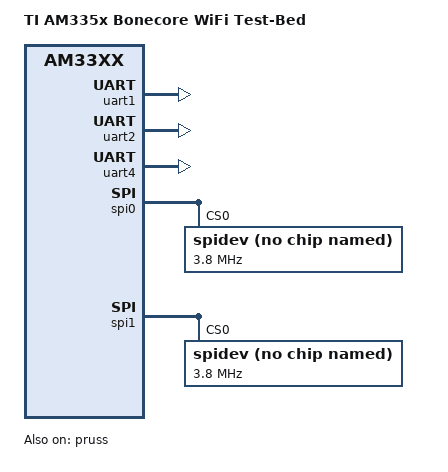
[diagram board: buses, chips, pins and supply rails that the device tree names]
/*
 * Copyright (C) Subinitial LLC
 *
 * This program is free software; you can redistribute it and/or modify
 * it under the terms of the GNU General Public License version 2 as
 * published by the Free Software Foundation.
 */
/dts-v1/;

#include "am33xx.dtsi"
#include "am335x-bone-common.dtsi"
#include "am335x-bonegreen-common.dtsi"
// #include "am335x-pruss-rproc.dtsi"
/* #include "am335x-bone-jtag.dtsi" */

#include "am335x-bonecore-common.dtsi"


&am33xx_pinmux {
  bb_uart1_pins: pinmux_bb_uart1_pins {
    pinctrl-single,pins = <
      BONE_P9_24 (PIN_OUTPUT | MUX_MODE0)	// uart1_txd.uart1_txd
      BONE_P9_26 (PIN_INPUT | MUX_MODE0)	// uart1_rxd.uart1_rxd
    	BONE_P9_19 (PIN_OUTPUT_PULLDOWN | MUX_MODE7)	// uart1_rtsn.uart1_rtsn
    	BONE_P9_20 (PIN_INPUT | MUX_MODE7)	// uart1_ctsn.uart1_ctsn
    >;
  };

  bb_uart2_pins: pinmux_bb_uart2_pins {
    pinctrl-single,pins = <
      // BONE_P9_21 (PIN_OUTPUT | MUX_MODE1)	/* P9_21: spi0_d0.uart2_txd */
      // BONE_P9_22 (PIN_INPUT  | MUX_MODE1)	/* P9_22: spi0_sclk.uart2_rxd */
    //	BONE_P8_38 (PIN_OUTPUT | MUX_MODE6)	// lcd_data9.uart2_rtsn
    //	BONE_P8_37 (PIN_INPUT  | MUX_MODE6)	// lcd_data8.uart2_ctsn
    >;
  };

  bb_uart4_pins: pinmux_bb_uart4_pins {
    pinctrl-single,pins = <
      BONE_P9_13 (PIN_OUTPUT | MUX_MODE6)	// gpmc_wpn.uart4_txd_mux2
      BONE_P9_11 (PIN_INPUT  | MUX_MODE6)	// gpmc_wait0.uart4_rxd_mux2
    >;
  };

  bb_spi0_pins: pinmux_bb_spi0_pins {
    pinctrl-single,pins = <
      BONE_P9_21 (PIN_INPUT_PULLUP  | MUX_MODE0)  // spi0_d0 MISO
      BONE_P9_18 (PIN_OUTPUT_PULLDOWN  | MUX_MODE0)  // spi0_d1 MOSI
      BONE_P9_17 (PIN_OUTPUT_PULLUP | MUX_MODE0)  // spi0_cs0
      BONE_P9_22 (PIN_OUTPUT_PULLUP  | MUX_MODE0)  // spi0_sclk
    >;
  };

  bb_spi1_pins: pinmux_bb_spi1_pins {
    pinctrl-single,pins = <
      BONE_P9_27 (PIN_INPUT_PULLDOWN | MUX_MODE7)  // adc_drdy
      BONE_P9_28 (PIN_OUTPUT_PULLUP | MUX_MODE3)  // spi1_cs0
      BONE_P9_29 (PIN_INPUT_PULLUP  | MUX_MODE3)  // spi1_d0 MISO
      BONE_P9_30 (PIN_OUTPUT_PULLDOWN  | MUX_MODE3)  // spi1_d1 MOSI
      BONE_P9_31 (PIN_OUTPUT_PULLUP  | MUX_MODE3)  // spi1_sclk
    >;
  };
};

&capeuniversal {
  P9_19 {
    gpio-name = "cmd01";
    gpio = <&gpio0 13 0>;
    input; dir-changeable;
  };
  P9_20 {
    gpio-name = "microCTS";
    gpio = <&gpio0 12 0>;
    output; init-low; dir-changeable;
  };
  
  P9_27 {
    gpio-name = "adc_drdy";
    gpio = <&gpio3 19 0>;
    input; dir-changeable;
  };
};

&uart1 {
  status = "okay";
  pinctrl-names = "default";
  pinctrl-0 = <&bb_uart1_pins>;
};

&uart2 {
  status = "okay";
  pinctrl-names = "default";
  pinctrl-0 = <&bb_uart2_pins>;
};

&uart4 {
  status = "okay";
  pinctrl-names = "default";
  pinctrl-0 = <&bb_uart4_pins>;
};

&pruss {
  status = "okay";
};

// &spi0 {
//   status = "okay";
//   pinctrl-names = "default";
//   pinctrl-0 = <&bb_spi1_pins>;

//   spidev@1 {
//     compatible = "linux,spidev";
//     spi-max-frequency = <24000000>;
//     reg = <0>;
//     spi-cpha;
//   };
// };

&spi0 {
  status = "okay";
  pinctrl-names = "default";
  pinctrl-0 = <&bb_spi0_pins>;

  spidev@0 {
    compatible = "linux,spidev";
    spi-max-frequency = <3800000>;
    reg = <0>;
    // spi-cpha;
  };
};

&spi1 {
  status = "okay";
  pinctrl-names = "default";
  pinctrl-0 = <&bb_spi1_pins>;

  spidev@0 {
    compatible = "linux,spidev";
    spi-max-frequency = <3800000>;
    reg = <0>;
    // spi-cpha;
  };
};

/ {
	model = "TI AM335x Bonecore WiFi Test-Bed";
	compatible = "ti,am335x-bone-green", "ti,am335x-bone-black", "ti,am335x-bone", "ti,am33xx";
};
